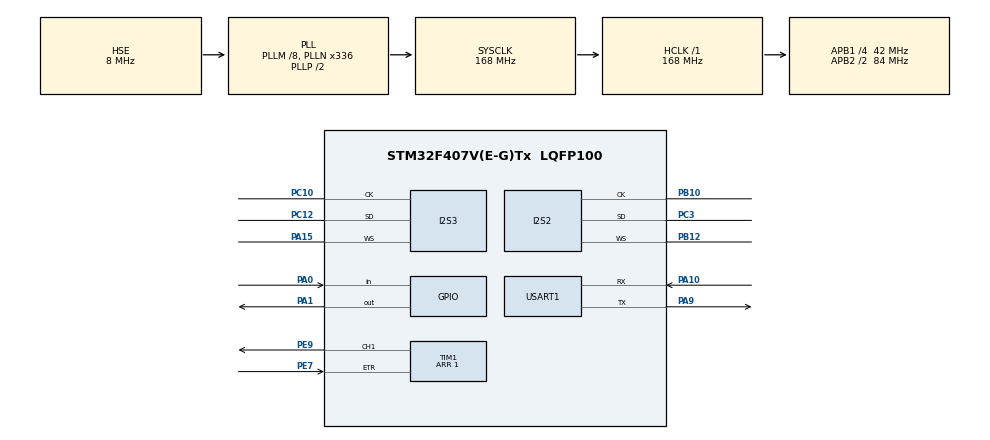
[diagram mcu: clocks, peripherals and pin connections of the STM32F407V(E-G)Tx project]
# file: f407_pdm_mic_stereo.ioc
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Dma.Request0=SPI3_TX
Dma.Request1=SPI2_RX
Dma.SPI2_RX.1.Direction=DMA_PERIPH_TO_MEMORY
Dma.SPI2_RX.1.FIFOMode=DMA_FIFOMODE_DISABLE
Dma.SPI2_RX.1.Instance=DMA1_Stream3
Dma.SPI2_RX.1.MemDataAlignment=DMA_MDATAALIGN_HALFWORD
Dma.SPI2_RX.1.MemInc=DMA_MINC_ENABLE
Dma.SPI2_RX.1.Mode=DMA_CIRCULAR
Dma.SPI2_RX.1.PeriphDataAlignment=DMA_PDATAALIGN_HALFWORD
Dma.SPI2_RX.1.PeriphInc=DMA_PINC_DISABLE
Dma.SPI2_RX.1.Priority=DMA_PRIORITY_LOW
Dma.SPI3_TX.0.Direction=DMA_MEMORY_TO_PERIPH
Dma.SPI3_TX.0.FIFOMode=DMA_FIFOMODE_DISABLE
Dma.SPI3_TX.0.Instance=DMA1_Stream5
Dma.SPI3_TX.0.MemDataAlignment=DMA_MDATAALIGN_HALFWORD
Dma.SPI3_TX.0.MemInc=DMA_MINC_ENABLE
Dma.SPI3_TX.0.Mode=DMA_CIRCULAR
Dma.SPI3_TX.0.PeriphDataAlignment=DMA_PDATAALIGN_HALFWORD
Dma.SPI3_TX.0.PeriphInc=DMA_PINC_DISABLE
Dma.SPI3_TX.0.Priority=DMA_PRIORITY_LOW
I2S2.AudioFreq=I2S_AUDIOFREQ_32K
I2S2.DataFormat=I2S_DATAFORMAT_24B
I2S2.ErrorAudioFreq=-0.26 %
I2S2.FullDuplexMode=I2S_FULLDUPLEXMODE_DISABLE
I2S2.Instance=SPI$Index
I2S2.Mode=I2S_MODE_MASTER_RX
I2S2.RealAudioFreq=31.914 KHz
I2S2.VirtualMode=I2S_MODE_MASTER
I2S3.AudioFreq=I2S_AUDIOFREQ_32K
I2S3.DataFormat=I2S_DATAFORMAT_16B
I2S3.ErrorAudioFreq=-0.26 %
I2S3.FullDuplexMode=I2S_FULLDUPLEXMODE_DISABLE
I2S3.Instance=SPI$Index
I2S3.RealAudioFreq=31.914 KHz
I2S3.VirtualMode=I2S_MODE_MASTER
Mcu.Family=STM32F4
Mcu.Name=STM32F407V(E-G)Tx
Mcu.Package=LQFP100
NVIC.DMA1_Stream3_IRQn=true\:0\:0\:false\:false\:true\:false\:true
NVIC.DMA1_Stream5_IRQn=true\:0\:0\:false\:false\:true\:false\:true
NVIC.PriorityGroup=NVIC_PRIORITYGROUP_4
PA0-WKUP.GPIO_PuPd=GPIO_PULLDOWN
PA0-WKUP.Signal=GPIO_Input
PA1.PinState=GPIO_PIN_SET
PA1.Signal=GPIO_Output
PA10.Mode=Asynchronous
PA10.Signal=USART1_RX
PA13.Mode=Serial_Wire
PA13.Signal=SYS_JTMS-SWDIO
PA14.Mode=Serial_Wire
PA14.Signal=SYS_JTCK-SWCLK
PA15.Mode=Half_Duplex_Master
PA15.Signal=I2S3_WS
PA9.Mode=Asynchronous
PA9.Signal=USART1_TX
PB10.Mode=Half_Duplex_Master
PB10.Signal=I2S2_CK
PB12.Mode=Half_Duplex_Master
PB12.Signal=I2S2_WS
PC10.Mode=Half_Duplex_Master
PC10.Signal=I2S3_CK
PC12.Mode=Half_Duplex_Master
PC12.Signal=I2S3_SD
PC3.Mode=Half_Duplex_Master
PC3.Signal=I2S2_SD
PDM2PCM.CHANNEL1_bit_order=PDM_FILTER_BIT_ORDER_MSB
PDM2PCM.CHANNEL1_decimation_factor=PDM_FILTER_DEC_FACTOR_32
PDM2PCM.CHANNEL1_in_ptr_channels=1
PDM2PCM.CHANNEL1_out_ptr_channels=1
PDM2PCM.CHANNEL1_output_samples_number=32
PDM2PCM.CHANNEL2_bit_order=PDM_FILTER_BIT_ORDER_MSB
PDM2PCM.CHANNEL2_decimation_factor=PDM_FILTER_DEC_FACTOR_32
PDM2PCM.CHANNEL2_output_samples_number=32
PDM2PCM.NbCHANNEL=1
PE7.Signal=S_TIM1_ETR
PE9.Signal=S_TIM1_CH1
PH0-OSC_IN.Mode=HSE-External-Oscillator
PH0-OSC_IN.Signal=RCC_OSC_IN
PH1-OSC_OUT.Mode=HSE-External-Oscillator
PH1-OSC_OUT.Signal=RCC_OSC_OUT
ProjectManager.HeapSize=0x200
ProjectManager.StackSize=0x400
ProjectManager.TargetToolchain=STM32CubeIDE
RCC.48MHZClocksFreq_Value=84000000
RCC.AHBFreq_Value=168000000
RCC.APB1CLKDivider=RCC_HCLK_DIV4
RCC.APB1Freq_Value=42000000
RCC.APB1TimFreq_Value=84000000
RCC.APB2CLKDivider=RCC_HCLK_DIV2
RCC.APB2Freq_Value=84000000
RCC.APB2TimFreq_Value=168000000
RCC.CortexFreq_Value=168000000
RCC.HCLKFreq_Value=168000000
RCC.HSE_VALUE=8000000
RCC.HSI_VALUE=16000000
RCC.LSE_VALUE=32768
RCC.PLLM=8
RCC.PLLN=336
RCC.PLLSourceVirtual=RCC_PLLSOURCE_HSE
RCC.SYSCLKFreq_VALUE=168000000
RCC.SYSCLKSource=RCC_SYSCLKSOURCE_PLLCLK
RCC.VCOOutputFreq_Value=336000000
SH.S_TIM1_CH1.0=TIM1_CH1,Output Compare1 CH1
SH.S_TIM1_ETR.0=TIM1_ETR,ClockSourceETR_Mode2
TIM1.BreakState=TIM_BREAK_DISABLE
TIM1.Channel-Output\ Compare1\ CH1=TIM_CHANNEL_1
TIM1.Period=1
USART1.VirtualMode=VM_ASYNC
VP_CRC_VS_CRC.Mode=CRC_Activate
VP_PDM2PCM_VS_PDM2PCM.Mode=PDM2PCM_Channel
board=custom

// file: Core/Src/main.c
/* USER CODE BEGIN Header */
// DevEBox STM32F407VGT6 dev board
// Demonstrates reception of PDM data from two  MP45DT02 PDM microphones on I2S2 port
// The two microphones are wired for L and R channels, i.e. generate data on rising
// and falling edges of the clock and tristated otherwise. So their data lines can be
// connected together.
// I2S2 master receive PDM configured for Fs = 32khz, 24bit data in 32bit Frame
// => BCK = 32kHz*64bits = 2.048MHz
// BCK is routed to TIM1_ETR (PE7) and divided by 2 to generate BCK/2 = 1.024MHz
// at TIM1_CH1 (PE9).
// This is the clock for the two PDM microphones. So I2S2 samples at BCK, but the two
// PDM microphones generate 1bit data valid on their BCK/2 rising edge and falling edge
// respectively.
// The result is a stream of interleaved L and R 1-bit data streams on I2S2 data input line.

// Note : 1MHz is the minimum clock for the MP45DT02 PDM microphone.

// I2S3 master transmit I2S configured for Fs = 32khz, 16bit data in 16bit Frame
// => BCK = 32kHz*32bits = 1.024MHz

// Incoming DMA stream PDM data is converted to PCM using the
// PDM2PCM library after de-interleaving the L and R PDM channels and separately
// decimating and filtering them. A FIFO is used between the filter PCM output and
// the transmit as I2S2 and I2S3 are not synced.
/* USER CODE END Header */

#include "main.h"
#include "pdm2pcm.h"

CRC_HandleTypeDef hcrc;

I2S_HandleTypeDef hi2s2;
I2S_HandleTypeDef hi2s3;
DMA_HandleTypeDef hdma_spi2_rx;
DMA_HandleTypeDef hdma_spi3_tx;

TIM_HandleTypeDef htim1;

UART_HandleTypeDef huart1;

void SystemClock_Config(void);
static void MX_GPIO_Init(void);
static void MX_DMA_Init(void);
static void MX_CRC_Init(void);
static void MX_I2S2_Init(void);
static void MX_I2S3_Init(void);
static void MX_USART1_UART_Init(void);
static void MX_TIM1_Init(void);

/* USER CODE BEGIN 0 */

void PDM_DeInterleave(uint16_t* pPDMBuf, int nSamples, uint8_t* pPDMBufL, uint8_t* pPDMBufR);

#define OUT_FS_KHZ  				32
#define DECIMATION_FACTOR			32

#define PDM2PCM_OUT_NSAMPLES 		(OUT_FS_KHZ)
#define PDM2PCM_IN_SAMPLES_BYTES	((OUT_FS_KHZ * DECIMATION_FACTOR)/8)
#define PDM2PCM_IN_SAMPLES_HWORDS   (PDM2PCM_IN_SAMPLES_BYTES/2)

#define RXBUF_NSAMPLES 				(PDM2PCM_IN_SAMPLES_HWORDS * 2 * 2)
#define TXBUF_NSAMPLES 				(PDM2PCM_OUT_NSAMPLES * 2 * 2)

uint16_t PDMRxBuf[RXBUF_NSAMPLES] = {0};

uint8_t PDMBufL[RXBUF_NSAMPLES/2] = {0};
uint8_t PDMBufR[RXBUF_NSAMPLES/2] = {0};

// PDM2PCM library generates PDM2PCM_OUT_NSAMPLES for each call
uint16_t PCMBufL[PDM2PCM_OUT_NSAMPLES];
uint16_t PCMBufR[PDM2PCM_OUT_NSAMPLES];
uint16_t I2STxBuf[TXBUF_NSAMPLES] = {0};

// dma completion state
enum DmaState {DMA_IN_PROGRESS, DMA_HALF_COMPLETE, DMA_COMPLETE};
enum DmaState RxState = DMA_IN_PROGRESS;
enum DmaState TxState = DMA_IN_PROGRESS;

// 256 entry FIFO and uint8_t pointers allow automatic roll-over to 0
uint16_t FIFOBuf[256];
uint8_t FIFOwPtr = 0;
uint8_t FIFOrPtr = 0;

// flag to start reading out from the FIFO when enough data is buffered
int FIFOReadEnabled = 0;

void FifoWrite(uint16_t data) {
	FIFOBuf[FIFOwPtr] = data;
	FIFOwPtr++;
	}

uint16_t FifoRead() {
	uint16_t val = FIFOBuf[FIFOrPtr];
	FIFOrPtr++;
	return val;
	}

/* USER CODE END 0 */

int main(void)
{

  /* MCU Configuration--------------------------------------------------------*/

  /* Reset of all peripherals, Initializes the Flash interface and the Systick. */
  HAL_Init();

  /* Configure the system clock */
  SystemClock_Config();

  /* Initialize all configured peripherals */
  MX_GPIO_Init();
  MX_DMA_Init();
  MX_CRC_Init();
  MX_I2S2_Init();
  MX_I2S3_Init();
  MX_PDM2PCM_Init();
  MX_USART1_UART_Init();
  MX_TIM1_Init();
  /* USER CODE BEGIN 2 */

  // The I2S peripherals internally transfer data in 16bit chunks, so the rx and tx buffers need
  // to be half-word buffers.
  // we've configured I2S2 for Fs=32kHZ, 24bit data in 32bit frame. This is only to ensure
  // that BCK = 64 * 32kHz = 2.048MHz, the PDM microphones just generate a 1-bit stream of data.
  // For 24/32 format, HAL API requires us to request the number of words, it multiplies that
  // by 2 to transfer the required number of half-words
  HAL_I2S_Receive_DMA(&hi2s2, PDMRxBuf, RXBUF_NSAMPLES/2);

  // Generate BCK/2 using TIM1 divider. Maybe TIM2 is better choice as it is on the same
  // APB1 bus as I2S2 while TIM1 is on APB2. But TIM1 internals are  clocked at 84MHz versus
  // TIM2 @ 42MHz. Which is more important ?
  if (HAL_OK != HAL_TIM_PWM_Start(&htim1, TIM_CHANNEL_1)) {
      Error_Handler();
      }

  // we've configured I2S3 for Fs=32kHz, 16bit data in 16bit frame, i.e. BCK = 1.024MHz
  // For 16/16 format, HAL API requires us to request the number of half-words
  HAL_I2S_Transmit_DMA(&hi2s3, I2STxBuf, TXBUF_NSAMPLES);

  /* USER CODE END 2 */

  /* Infinite loop */
  while (1)
  {

    /* USER CODE BEGIN 3 */
	    if (RxState == DMA_HALF_COMPLETE) {
	    	PDM_DeInterleave(PDMRxBuf, RXBUF_NSAMPLES/2, PDMBufL, PDMBufR);
	    	PDM_Filter(PDMBufL, PCMBufL, &PDM1_filter_handler);
	    	PDM_Filter(PDMBufR, PCMBufR, &PDM1_filter_handler);
	    	for (int i = 0; i < PDM2PCM_OUT_NSAMPLES; i++) {
	    		FifoWrite(PCMBufL[i]);
	    		FifoWrite(PCMBufR[i]);
	    		}
	    	// enough data buffered to start streaming output on I2S3
	    	if ((FIFOwPtr - FIFOrPtr) > 128) {
	    		FIFOReadEnabled = 1;
	    		}
	    	RxState = DMA_IN_PROGRESS;
	    	}

	    if (RxState == DMA_COMPLETE) {
	    	PDM_DeInterleave(&PDMRxBuf[RXBUF_NSAMPLES/2], RXBUF_NSAMPLES/2, PDMBufL, PDMBufR);
	    	PDM_Filter(PDMBufL, PCMBufL, &PDM1_filter_handler);
	    	PDM_Filter(PDMBufR, PCMBufR, &PDM1_filter_handler);
	    	for (int i = 0; i < PDM2PCM_OUT_NSAMPLES; i++) {
	    		FifoWrite(PCMBufL[i]);
	    		FifoWrite(PCMBufR[i]);
	    		}
	    	RxState = DMA_IN_PROGRESS;
	    	}

	    if (TxState == DMA_HALF_COMPLETE) {
	    	if (FIFOReadEnabled == 1) {
				for (int i = 0; i < PDM2PCM_OUT_NSAMPLES; i++) {
					I2STxBuf[2*i] = FifoRead(); // L
					I2STxBuf[2*i + 1] = FifoRead(); // R
					}
	    		}
	    	TxState = DMA_IN_PROGRESS;
	    	}

	    if (TxState == DMA_COMPLETE) {
	    	if (FIFOReadEnabled == 1) {
	    		uint16_t* pBuf = &I2STxBuf[TXBUF_NSAMPLES/2];
				for (int i = 0; i < PDM2PCM_OUT_NSAMPLES; i++) {
					pBuf[2*i] = FifoRead(); // L
					pBuf[2*i + 1] = FifoRead(); // R
				 	}
				}
	    	TxState = DMA_IN_PROGRESS;
	    	}
	  }

  /* USER CODE END 3 */
}

void SystemClock_Config(void)
{
  RCC_OscInitTypeDef RCC_OscInitStruct = {0};
  RCC_ClkInitTypeDef RCC_ClkInitStruct = {0};
  RCC_PeriphCLKInitTypeDef PeriphClkInitStruct = {0};

  /** Configure the main internal regulator output voltage
  */
  __HAL_RCC_PWR_CLK_ENABLE();
  __HAL_PWR_VOLTAGESCALING_CONFIG(PWR_REGULATOR_VOLTAGE_SCALE1);
  /** Initializes the CPU, AHB and APB busses clocks
  */
  RCC_OscInitStruct.OscillatorType = RCC_OSCILLATORTYPE_HSE;
  RCC_OscInitStruct.HSEState = RCC_HSE_ON;
  RCC_OscInitStruct.PLL.PLLState = RCC_PLL_ON;
  RCC_OscInitStruct.PLL.PLLSource = RCC_PLLSOURCE_HSE;
  RCC_OscInitStruct.PLL.PLLM = 8;
  RCC_OscInitStruct.PLL.PLLN = 336;
  RCC_OscInitStruct.PLL.PLLP = RCC_PLLP_DIV2;
  RCC_OscInitStruct.PLL.PLLQ = 4;
  if (HAL_RCC_OscConfig(&RCC_OscInitStruct) != HAL_OK)
  {
    Error_Handler();
  }
  /** Initializes the CPU, AHB and APB busses clocks
  */
  RCC_ClkInitStruct.ClockType = RCC_CLOCKTYPE_HCLK|RCC_CLOCKTYPE_SYSCLK
                              |RCC_CLOCKTYPE_PCLK1|RCC_CLOCKTYPE_PCLK2;
  RCC_ClkInitStruct.SYSCLKSource = RCC_SYSCLKSOURCE_PLLCLK;
  RCC_ClkInitStruct.AHBCLKDivider = RCC_SYSCLK_DIV1;
  RCC_ClkInitStruct.APB1CLKDivider = RCC_HCLK_DIV4;
  RCC_ClkInitStruct.APB2CLKDivider = RCC_HCLK_DIV2;

  if (HAL_RCC_ClockConfig(&RCC_ClkInitStruct, FLASH_LATENCY_5) != HAL_OK)
  {
    Error_Handler();
  }
  PeriphClkInitStruct.PeriphClockSelection = RCC_PERIPHCLK_I2S;
  PeriphClkInitStruct.PLLI2S.PLLI2SN = 192;
  PeriphClkInitStruct.PLLI2S.PLLI2SR = 2;
  if (HAL_RCCEx_PeriphCLKConfig(&PeriphClkInitStruct) != HAL_OK)
  {
    Error_Handler();
  }
}

static void MX_CRC_Init(void)
{

  hcrc.Instance = CRC;
  if (HAL_CRC_Init(&hcrc) != HAL_OK)
  {
    Error_Handler();
  }
  __HAL_CRC_DR_RESET(&hcrc);

}

static void MX_I2S2_Init(void)
{

  hi2s2.Instance = SPI2;
  hi2s2.Init.Mode = I2S_MODE_MASTER_RX;
  hi2s2.Init.Standard = I2S_STANDARD_PHILIPS;
  hi2s2.Init.DataFormat = I2S_DATAFORMAT_24B;
  hi2s2.Init.MCLKOutput = I2S_MCLKOUTPUT_DISABLE;
  hi2s2.Init.AudioFreq = I2S_AUDIOFREQ_32K;
  hi2s2.Init.CPOL = I2S_CPOL_LOW;
  hi2s2.Init.ClockSource = I2S_CLOCK_PLL;
  hi2s2.Init.FullDuplexMode = I2S_FULLDUPLEXMODE_DISABLE;
  if (HAL_I2S_Init(&hi2s2) != HAL_OK)
  {
    Error_Handler();
  }

}

static void MX_I2S3_Init(void)
{

  hi2s3.Instance = SPI3;
  hi2s3.Init.Mode = I2S_MODE_MASTER_TX;
  hi2s3.Init.Standard = I2S_STANDARD_PHILIPS;
  hi2s3.Init.DataFormat = I2S_DATAFORMAT_16B;
  hi2s3.Init.MCLKOutput = I2S_MCLKOUTPUT_DISABLE;
  hi2s3.Init.AudioFreq = I2S_AUDIOFREQ_32K;
  hi2s3.Init.CPOL = I2S_CPOL_LOW;
  hi2s3.Init.ClockSource = I2S_CLOCK_PLL;
  hi2s3.Init.FullDuplexMode = I2S_FULLDUPLEXMODE_DISABLE;
  if (HAL_I2S_Init(&hi2s3) != HAL_OK)
  {
    Error_Handler();
  }

}

static void MX_USART1_UART_Init(void)
{

  huart1.Instance = USART1;
  huart1.Init.BaudRate = 115200;
  huart1.Init.WordLength = UART_WORDLENGTH_8B;
  huart1.Init.StopBits = UART_STOPBITS_1;
  huart1.Init.Parity = UART_PARITY_NONE;
  huart1.Init.Mode = UART_MODE_TX_RX;
  huart1.Init.HwFlowCtl = UART_HWCONTROL_NONE;
  huart1.Init.OverSampling = UART_OVERSAMPLING_16;
  if (HAL_UART_Init(&huart1) != HAL_OK)
  {
    Error_Handler();
  }

}

static void MX_DMA_Init(void)
{

  /* DMA controller clock enable */
  __HAL_RCC_DMA1_CLK_ENABLE();

  /* DMA interrupt init */
  /* DMA1_Stream3_IRQn interrupt configuration */
  HAL_NVIC_SetPriority(DMA1_Stream3_IRQn, 0, 0);
  HAL_NVIC_EnableIRQ(DMA1_Stream3_IRQn);
  /* DMA1_Stream5_IRQn interrupt configuration */
  HAL_NVIC_SetPriority(DMA1_Stream5_IRQn, 0, 0);
  HAL_NVIC_EnableIRQ(DMA1_Stream5_IRQn);

}

static void MX_GPIO_Init(void)
{
  GPIO_InitTypeDef GPIO_InitStruct = {0};

  /* GPIO Ports Clock Enable */
  __HAL_RCC_GPIOH_CLK_ENABLE();
  __HAL_RCC_GPIOC_CLK_ENABLE();
  __HAL_RCC_GPIOA_CLK_ENABLE();
  __HAL_RCC_GPIOE_CLK_ENABLE();
  __HAL_RCC_GPIOB_CLK_ENABLE();

  /*Configure GPIO pin Output Level */
  HAL_GPIO_WritePin(GPIOA, GPIO_PIN_1, GPIO_PIN_SET);

  /*Configure GPIO pin : PA0 */
  GPIO_InitStruct.Pin = GPIO_PIN_0;
  GPIO_InitStruct.Mode = GPIO_MODE_INPUT;
  GPIO_InitStruct.Pull = GPIO_PULLDOWN;
  HAL_GPIO_Init(GPIOA, &GPIO_InitStruct);

  /*Configure GPIO pin : PA1 */
  GPIO_InitStruct.Pin = GPIO_PIN_1;
  GPIO_InitStruct.Mode = GPIO_MODE_OUTPUT_PP;
  GPIO_InitStruct.Pull = GPIO_NOPULL;
  GPIO_InitStruct.Speed = GPIO_SPEED_FREQ_LOW;
  HAL_GPIO_Init(GPIOA, &GPIO_InitStruct);

}

/* USER CODE BEGIN 4 */
void HAL_I2S_TxHalfCpltCallback (I2S_HandleTypeDef *hi2s) {
	TxState = DMA_HALF_COMPLETE;
}

void HAL_I2S_TxCpltCallback (I2S_HandleTypeDef *hi2s) {
	TxState = DMA_COMPLETE;
}

void HAL_I2S_RxHalfCpltCallback (I2S_HandleTypeDef *hi2s) {
	RxState = DMA_HALF_COMPLETE;
}

void HAL_I2S_RxCpltCallback (I2S_HandleTypeDef *hi2s) {
	RxState = DMA_COMPLETE;
}

static void MX_TIM1_Init(void){
  htim1.Instance = TIM1;
  htim1.Init.Prescaler = 0;
  htim1.Init.CounterMode = TIM_COUNTERMODE_UP;
  htim1.Init.Period = 1; // we want to divide TIM1_ETR by 2, so period is 2 clocks
  htim1.Init.ClockDivision = TIM_CLOCKDIVISION_DIV1;
  htim1.Init.RepetitionCounter = 0;
  htim1.Init.AutoReloadPreload = TIM_AUTORELOAD_PRELOAD_DISABLE;
  if (HAL_TIM_PWM_Init(&htim1) != HAL_OK){
	  Error_Handler();
  	  }
  TIM_ClockConfigTypeDef sClockSourceConfig = {0};
  sClockSourceConfig.ClockSource = TIM_CLOCKSOURCE_ETRMODE2;
  sClockSourceConfig.ClockPolarity = TIM_CLOCKPOLARITY_NONINVERTED;
  sClockSourceConfig.ClockPrescaler = TIM_CLOCKPRESCALER_DIV1;
  sClockSourceConfig.ClockFilter = 0;
  if (HAL_TIM_ConfigClockSource(&htim1, &sClockSourceConfig) != HAL_OK){
    Error_Handler();
  }

  // now we need to configure the output channel
  // only set fields required for output channel pwm mode
  TIM_OC_InitTypeDef pwmConfig = {0};
  pwmConfig.OCMode = TIM_OCMODE_PWM1;
  // when counter < CCR1, we want the channel output high
  pwmConfig.OCPolarity = TIM_OCPOLARITY_HIGH;
  // we want a square wave at 50% duty cycle, that divides the TIM1_ETR clock by 2
  pwmConfig.Pulse = 1;
  // this function will call HAL_TIM_PWM_MspInit which we need to define
  if (HAL_TIM_PWM_ConfigChannel(&htim1, &pwmConfig, TIM_CHANNEL_1) != HAL_OK)  {
      Error_Handler();
  	  }

}

void HAL_TIM_PWM_MspInit(TIM_HandleTypeDef* htim_base){
	// low level initialization
	if(htim_base->Instance == TIM1)  {
		// enable clock for TIM2 peripheral
		__HAL_RCC_TIM1_CLK_ENABLE();
		// enable clock to GPIOE so we can use PE7 as ETR and PE9 as output channel
		__HAL_RCC_GPIOE_CLK_ENABLE();

		// PE9 : TIM1_CH1
		// PE7 : TIM1_ETR
		GPIO_InitTypeDef config;
		config.Pin = GPIO_PIN_7 | GPIO_PIN_9;
		config.Mode = GPIO_MODE_AF_PP;
	    config.Pull = GPIO_NOPULL;
	    config.Speed = GPIO_SPEED_FREQ_LOW;
		config.Alternate = GPIO_AF1_TIM1;
		HAL_GPIO_Init(GPIOE, &config);

		// pwm output, no interrupt required
		}
	}

void PDM_DeInterleave(uint16_t* pPDMBuf, int nSamples, uint8_t* pPDMBufL, uint8_t* pPDMBufR){
	uint8_t left, right;
	for (int inx = 0; inx < nSamples; inx++) {
		uint16_t sample = pPDMBuf[inx];
		left = right = 0;
		if (sample & 0x8000) left |= 0x80;
		if (sample & 0x4000) right |= 0x80;
		if (sample & 0x2000) left |= 0x40;
		if (sample & 0x1000) right |= 0x40;
		if (sample & 0x0800) left |= 0x20;
		if (sample & 0x0400) right |= 0x20;
		if (sample & 0x0200) left |= 0x10;
		if (sample & 0x0100) right |= 0x10;
		if (sample & 0x0080) left |= 0x08;
		if (sample & 0x0040) right |= 0x08;
		if (sample & 0x0020) left |= 0x04;
		if (sample & 0x0010) right |= 0x04;
		if (sample & 0x0008) left |= 0x02;
		if (sample & 0x0004) right |= 0x02;
		if (sample & 0x0002) left |= 0x01;
		if (sample & 0x0001) right |= 0x01;
		pPDMBufL[inx] = left;
		pPDMBufR[inx] = right;
		}
	}

/* USER CODE END 4 */

void Error_Handler(void)
{
  /* USER CODE BEGIN Error_Handler_Debug */
  /* User can add his own implementation to report the HAL error return state */
	int counter = 0;
	while (1) {
		HAL_GPIO_TogglePin(GPIOA, GPIO_PIN_1);
		while (counter < 0x3FFFF) {counter++;}
		counter = 0;
		}
  /* USER CODE END Error_Handler_Debug */
}

/************************ (C) COPYRIGHT STMicroelectronics *****END OF FILE****/
